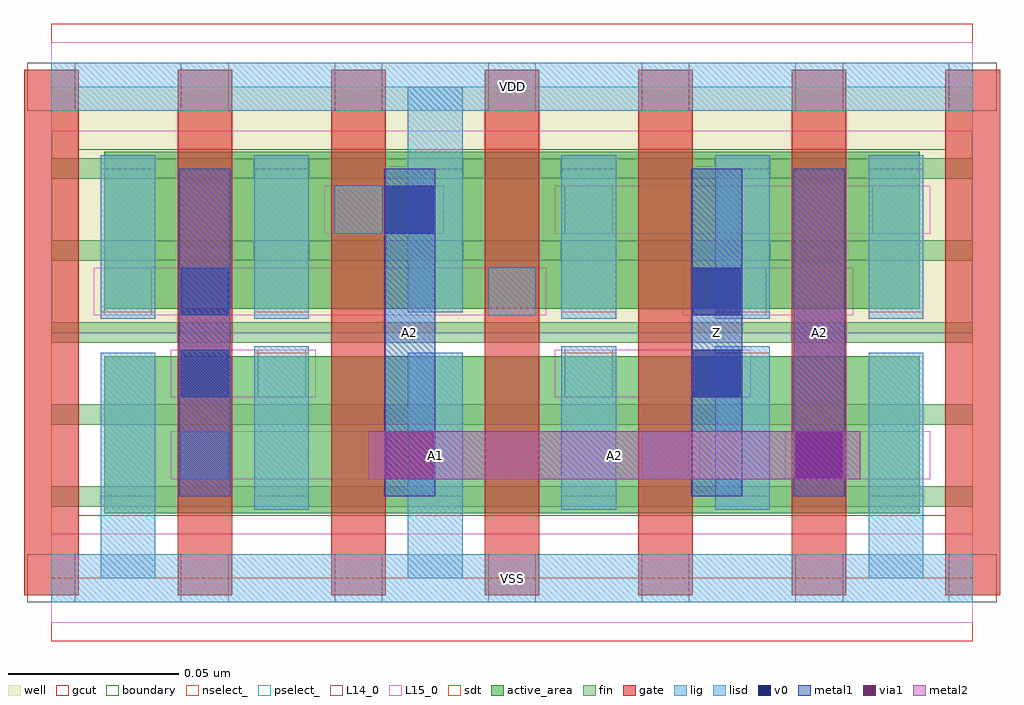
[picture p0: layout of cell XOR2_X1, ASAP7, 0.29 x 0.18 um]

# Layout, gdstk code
import gdstk
lib = gdstk.Library(unit=1e-6, precision=2.5e-10)
def R(c, l, rs):  # rectangles x0, y0, x1, y1
    for r in rs: c.add(gdstk.rectangle(r[:2], r[2:], *l))
def A(c, l, x, y, w, h, nx, ny, dx, dy):  # array of equal rectangles
    R(c, l, [(x+i*dx, y+j*dy, x+i*dx+w, y+j*dy+h) for i in range(nx) for j in range(ny)])
well = (1, 0)
fin = (2, 0)
gate = (7, 0)
gcut = (10, 0)
active_area = (11, 0)
nselect_ = (12, 0)
pselect_ = (13, 0)
L14_0 = (14, 0)
L15_0 = (15, 0)
lig = (16, 0)
lisd = (17, 0)
v0 = (18, 0)
metal1 = (19, 0)
metal2 = (20, 0)
via1 = (21, 0)
sdt = (88, 0)
boundary = (100, 0)

xor2_x1 = lib.new_cell('XOR2_X1')
R(xor2_x1, well, [(0,0.072,0.27,0.144)])
A(xor2_x1, fin, 0, 0.021, 0.27, 0.006, 1, 5, 0, 0.024)
A(xor2_x1, gate, -0.008, -0.005, 0.016, 0.154, 7, 1, 0.045, 0)
R(xor2_x1, gcut, [(0,-0.0185,0.27,0.0185), (-0.008,-0.005,0.008,0.149), (0.262,-0.005,0.278,0.149), (0,0.1255,0.27,0.1625)])
A(xor2_x1, active_area, 0.0155, 0.019, 0.059, 0.046, 5, 2, 0.045, 0.06)
R(xor2_x1, nselect_, [(0,0,0.27,0.072)])
R(xor2_x1, pselect_, [(0,0.072,0.27,0.144)])
A(xor2_x1, L14_0, -0.007, -0.007, 0.014, 0.014, 7, 2, 0.045, 0.144)
R(xor2_x1, L14_0, [(0.038,0.029,0.052,0.043), (0.173,0.029,0.187,0.043), (0.218,0.029,0.232,0.043), (0.0605,0.053,0.0745,0.067), (0.1505,0.053,0.1645,0.067), (0.0155,0.077,0.0295,0.091), (0.128,0.077,0.142,0.091), (0.1955,0.077,0.2095,0.091), (0.083,0.101,0.097,0.115), (0.1505,0.101,0.1645,0.115), (0.2405,0.101,0.2545,0.115)])
R(xor2_x1, L15_0, [(0,-0.013,0.27,0.013), (0.035,0.029,0.19,0.043), (0.215,0.029,0.2575,0.043), (0.035,0.053,0.0775,0.067), (0.1475,0.053,0.205,0.067), (0.0125,0.077,0.145,0.091), (0.185,0.077,0.235,0.091), (0.08,0.101,0.115,0.115), (0.1475,0.101,0.2575,0.115), (0,0.131,0.27,0.157)])
R(xor2_x1, lig, [(0,-0.007,0.27,0.007), (0.038,0.029,0.052,0.043), (0.173,0.029,0.187,0.043), (0.218,0.029,0.232,0.043), (0.128,0.077,0.142,0.091), (0.083,0.101,0.097,0.115), (0,0.137,0.27,0.151)])
R(xor2_x1, lisd, [(0.0145,0,0.0305,0.066), (0.1045,0,0.1205,0.066), (0.1045,0,0.1205,0.066), (0.2395,0,0.2555,0.066), (0.0595,0.02,0.0755,0.068), (0.0595,0.02,0.0755,0.068), (0.1495,0.02,0.1655,0.068), (0.1495,0.02,0.1655,0.068), (0.1945,0.02,0.2105,0.068), (0.1945,0.02,0.2105,0.068), (0.0145,0.076,0.0305,0.124), (0.0595,0.076,0.0755,0.124), (0.0595,0.076,0.0755,0.124), (0.1495,0.076,0.1655,0.124), (0.1495,0.076,0.1655,0.124), (0.1945,0.076,0.2105,0.124), (0.1945,0.076,0.2105,0.124), (0.2395,0.076,0.2555,0.124), (0.1045,0.078,0.1205,0.144), (0.1045,0.078,0.1205,0.144)])
R(xor2_x1, v0, [(0.218,0.029,0.232,0.043), (0.038,0.053,0.052,0.067), (0.188,0.053,0.202,0.067), (0.038,0.077,0.052,0.091), (0.188,0.077,0.202,0.091), (0.098,0.101,0.112,0.115)])
R(xor2_x1, metal1, [(0.0375,0.024,0.0525,0.12), (0.0975,0.024,0.1125,0.12), (0.1875,0.024,0.2025,0.12), (0.2175,0.024,0.2325,0.12)])
R(xor2_x1, metal2, [(0.093,0.029,0.237,0.043)])
R(xor2_x1, via1, [(0.098,0.029,0.112,0.043), (0.218,0.029,0.232,0.043)])
R(xor2_x1, sdt, [(0.0145,0.024,0.0305,0.066), (0.0595,0.024,0.0755,0.066), (0.0595,0.024,0.0755,0.066), (0.1045,0.024,0.1205,0.066), (0.1045,0.024,0.1205,0.066), (0.1495,0.024,0.1655,0.066), (0.1495,0.024,0.1655,0.066), (0.1945,0.024,0.2105,0.066), (0.1945,0.024,0.2105,0.066), (0.2395,0.024,0.2555,0.066), (0.0145,0.078,0.0305,0.12), (0.0595,0.078,0.0755,0.12), (0.0595,0.078,0.0755,0.12), (0.1045,0.078,0.1205,0.12), (0.1045,0.078,0.1205,0.12), (0.1495,0.078,0.1655,0.12), (0.1495,0.078,0.1655,0.12), (0.1945,0.078,0.2105,0.12), (0.1945,0.078,0.2105,0.12), (0.2395,0.078,0.2555,0.12)])
R(xor2_x1, boundary, [(0,0,0.27,0.144)])
xor2_x1.add(gdstk.Label('VDD', (0.135,0.144), layer=1, texttype=251))
xor2_x1.add(gdstk.Label('VSS', (0.135,0), layer=3, texttype=251))
xor2_x1.add(gdstk.Label('A1', (0.1125,0.036), layer=15, texttype=251))
xor2_x1.add(gdstk.Label('VSS', (0.135,0), layer=15, texttype=251))
xor2_x1.add(gdstk.Label('VDD', (0.135,0.144), layer=15, texttype=251))
xor2_x1.add(gdstk.Label('A2', (0.105,0.072), layer=19, texttype=251))
xor2_x1.add(gdstk.Label('Z', (0.195,0.072), layer=19, texttype=251))
xor2_x1.add(gdstk.Label('A2', (0.225,0.072), layer=19, texttype=251))
xor2_x1.add(gdstk.Label('A2', (0.165,0.036), layer=20, texttype=251))

lib.write_gds('XOR2_X1.gds')
